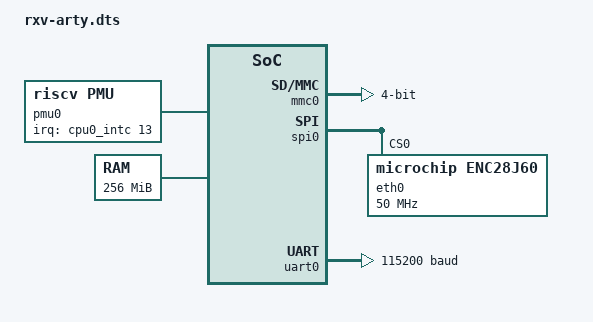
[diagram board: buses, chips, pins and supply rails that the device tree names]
// SPDX-License-Identifier: GPL-2.0+
/dts-v1/;

/ {
    #address-cells = <1>;
    #size-cells = <1>;
    compatible = "jamieiles,rxv-arty";

    aliases {
        serial0 = &uart0;
    };

    chosen {
        bootargs = "console=ttyS0,115200 earlycon root=/dev/mmcblk0p2 ro";
        rng-seed = <0xb1 0xdf 0x02 0x6c 0xcf 0xc2 0xb5 0xaa 0xe5 0xba 0xd7 0x58 0xdf 0xcd 0x09 0xe1 0xf9 0x1c 0xef 0x72 0xc9 0xa8 0xb4 0x41 0x17 0xc0 0x7f 0x84 0xf3 0x93 0x74 0xdc 0x93 0x9f 0xf4 0x34 0x95 0xa5 0x32 0x69 0x35 0x56 0x02 0xe1 0x1d 0xdc 0x18 0x19 0x1e 0x26 0xa5 0xa5 0x4f 0xe1 0xbe 0x6f 0xc7 0x36 0x37 0x1b 0xfc 0x02 0x06 0x89 0x78 0x3b 0x0d 0xaf 0x21 0xec 0x46 0x07 0x40 0xa3 0x12 0xb2 0x11 0x2f 0x11 0x86 0xe0 0x9c 0x3b 0x17 0x1d 0xbf 0xdb 0x0b 0xae 0x9a 0x2b 0x99 0x48 0xf2 0xee 0x86 0x6d 0x46 0x48 0xcb 0x1d 0x9e 0xe8 0x35 0xc4 0x5b 0x4b 0xce 0xf8 0x36 0x0d 0xd4 0x31 0xc7 0x62 0x9a 0x79 0x72 0x82 0x69 0x42 0x67 0x28 0x17 0xab 0x69 0xf8 0x52>;
        stdout-path = "serial0:115200n8";

        opensbi-domains {
            compatible = "opensbi,domain,config";

            mmio0: mmio {
                compatible = "opensbi,domain,memregion";
                base = <0xf0000000>;
                order = <16>;
            };
        };
    };

    cpus {
        #address-cells = <1>;
        #size-cells = <0>;
        timebase-frequency = <10140625>;
        cpu0: cpu@0 {
            device_type = "cpu";
            compatible = "jamieiles,rxv", "riscv";
            reg = <0>;
            riscv,isa = "rv32ima_zicbom_sstc_sscofpmf";
            riscv,cbom-block-size = <64>;
            mmu-type = "riscv,sv32";
            d-cache-block-size = <64>;
            d-cache-sets = <128>;
            d-cache-size = <32768>;
            i-cache-block-size = <64>;
            i-cache-sets = <128>;
            i-cache-size = <32768>;
            tlb-split;
            i-tlb-size = <16>;
            i-tlb-sets = <16>;
            d-tlb-size = <16>;
            d-tlb-sets = <16>;

            cpu0_intc: interrupt-controller {
                #interrupt-cells = <1>;
                #address-cells = <0>;
                interrupt-controller;
                compatible = "riscv,cpu-intc";
            };
        };
    };

    pmu0: pmu {
        compatible = "riscv,pmu";
        interrupts-extended = <&cpu0_intc 13>;
        riscv,event-to-mhpmevent = <0x00001 0x00000000 0x00000001> /* Cycles */,
                                   <0x00002 0x00000000 0x00000002> /* Instructions Retired */,
                                   <0x00005 0x00000000 0x00000003> /* Branches */,
                                   <0x00006 0x00000000 0x00000004> /* Branch Mispredict */,
                                   <0x00008 0x00000000 0x00000005> /* Frontend Stall */,
                                   <0x00009 0x00000000 0x00000006> /* Backend Stall */,
                                   <0x10000 0x00000000 0x00000007> /* L1D Read */,
                                   <0x10001 0x00000000 0x00000008> /* L1D Read Miss */,
                                   <0x10002 0x00000000 0x00000009> /* L1D Write */,
                                   <0x10003 0x00000000 0x0000000a> /* L1D Write Miss */,
                                   <0x10008 0x00000000 0x0000000b> /* L1I Read */,
                                   <0x10009 0x00000000 0x0000000c> /* L1I Read Miss */,
                                   <0x10018 0x00000000 0x0000000d> /* DTLB Read */,
                                   <0x10019 0x00000000 0x0000000e> /* DTLB Read Miss */,
                                   <0x10020 0x00000000 0x0000000f> /* ITLB Read */,
                                   <0x10021 0x00000000 0x00000010> /* ITLB Read Miss */;
        riscv,event-to-mhpmcounters = <0x00001 0x10181 0x00000078>;
    };

    clint0: clint@f0000000 {
        compatible = "riscv,clint0";
        interrupts-extended = <&cpu0_intc 3 &cpu0_intc 7 >;
        reg = <0xf0000000 0xc000>;
    };

    syscon: syscon@f000c000 {
        compatible = "rxv,syscon", "syscon";
        reg = <0xf000c000 0x1000>;

        reboot {
            compatible = "syscon-reboot";
            regmap = <&syscon>;
            offset = <0x00000000>;
            mask = <0x00000001>;
            value = <0x00000001>;
        };
    };

    sram: memory@80000000 {
        device_type = "memory";
        compatible = "jamieiles,rxv-sdram";
        reg = <0x80000000 0x10000000>;
    };

    sdclk: clock-81247969 {
        compatible = "fixed-clock";
        #clock-cells = <0>;
        clock-frequency = <81247969>;
    };

    mmc0: mmc@fffc0000 {
        compatible = "arasan,sdhci-8.9a";
        reg = <0xfffc0000 0x10000>;
        clocks = <&sdclk>, <&sdclk>;
        clock-names = "clk_xin", "clk_ahb";
        // SDMA is not coherent with the CPU caches, Zicbom is used instead.
        dma-noncoherent;
        interrupt-parent = <&intc>;
        // Level-high
        interrupts = <3 4>;
        bus-width = <4>;
        cap-sd-highspeed;
        max-frequency = <40623984>;
        no-1-8-v;
        disable-wp;
        no-sdio;
        no-mmc;
        broken-cd;
    };

    spi0: spi@fffe0000 {
        compatible = "xlnx,xps-spi-2.00.a";
        reg = <0xfffe0000 0x10000>;
        xlnx,num-ss-bits = <0x1>;
        xlnx,num-transfer-bits = <8>;
        status = "okay";
        #address-cells = <1>;
        #size-cells = <0>;
        interrupt-parent = <&intc>;
        // Edge-rising
        interrupts = <0 1>;

        eth0: eth@0 {
            compatible = "microchip,enc28j60";
            reg = <0>;
            interrupt-parent = <&intc>;
            // Edge-falling
            interrupts = <2 2>;
            spi-max-frequency = <50000000>;
        };
    };

    intc: interrupt-controller@fffd0000 {
        #interrupt-cells = <2>;
        #address-cells = <0>;
        compatible = "xlnx,xps-intc-1.00.a";
        interrupt-controller;
        interrupt-parent = <&cpu0_intc>;
        interrupts-extended = <&cpu0_intc 9>;
        reg = <0xfffd0000 0x10000>;
        xlnx,kind-of-intr = <0x5>;
        xlnx,num-intr-inputs = <0x4>;
    };

    uart0: serial@ffff1000 {
        compatible = "ns16550a";
        reg = <0xffff1000 0x1000>;
        clock-frequency = <81247969>;
        reg-shift = <2>;
        reg-io-width = <4>;
        interrupt-parent = <&intc>;
        // Level-high
        interrupts = <1 4>;
        status = "okay";
        current-speed = <115200>;
    };
};
